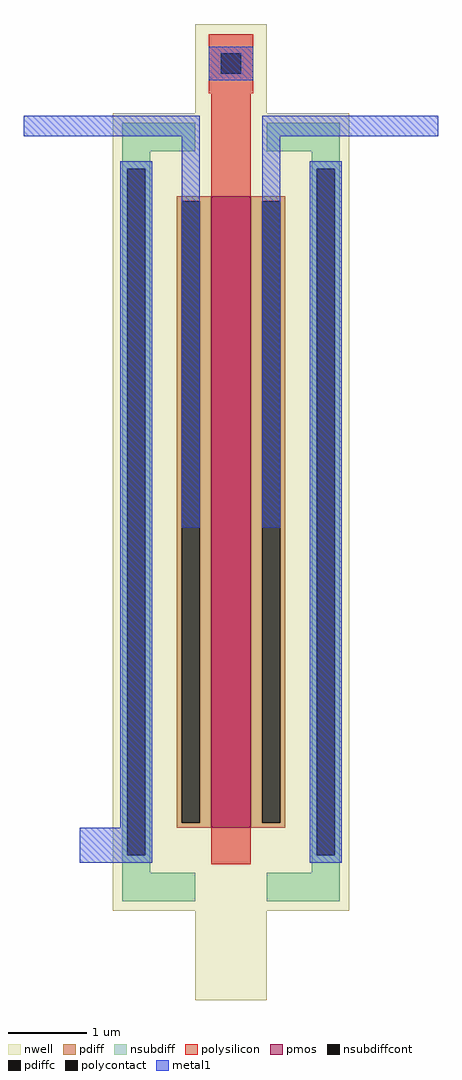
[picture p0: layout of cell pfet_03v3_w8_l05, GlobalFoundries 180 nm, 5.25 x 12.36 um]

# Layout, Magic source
magic
tech gf180mcuD
magscale 1 10
<< nwell >>
rect -300 -1010 300 1010
rect -90 800 90 1236
rect -90 -1236 90 -800
<< pmos >>
rect -50 -800 50 800
<< pdiff >>
rect -138 787 -50 800
rect -138 -787 -125 787
rect -79 -787 -50 787
rect -138 -800 -50 -787
rect 50 787 138 800
rect 50 -787 79 787
rect 125 -787 138 787
rect 50 -800 138 -787
<< pdiffc >>
rect -125 -787 -79 787
rect 79 -787 125 787
<< nsubdiff >>
rect -276 870 -204 914
rect -276 -870 -263 870
rect -217 -870 -204 870
rect 204 870 276 914
rect -276 -914 -204 -870
rect 204 -870 217 870
rect 263 -870 276 870
rect 204 -914 276 -870
rect -276 914 -90 986
rect 90 914 276 986
rect -276 -986 -90 -914
rect 90 -986 276 -914
<< nsubdiffcont >>
rect -263 -870 -217 870
rect 217 -870 263 870
<< polysilicon >>
rect -50 -892 50 1070
rect -56 1060 56 1210
<< polycontact >>
rect -26 1110 26 1162
<< metal1 >>
rect -56 1094 56 1178
rect -125 -40 -79 952
rect -525 952 -79 1004
rect 79 -40 125 952
rect 79 952 525 1004
rect -281 -888 -199 888
rect 199 -888 281 888
rect -383 -888 -199 -800
<< properties >>
<< end >>
<< via1 >>
rect -26 1110 26 1162
<< metal2 >>
rect -52 1100 52 1184
<< properties >>
<< end >>
